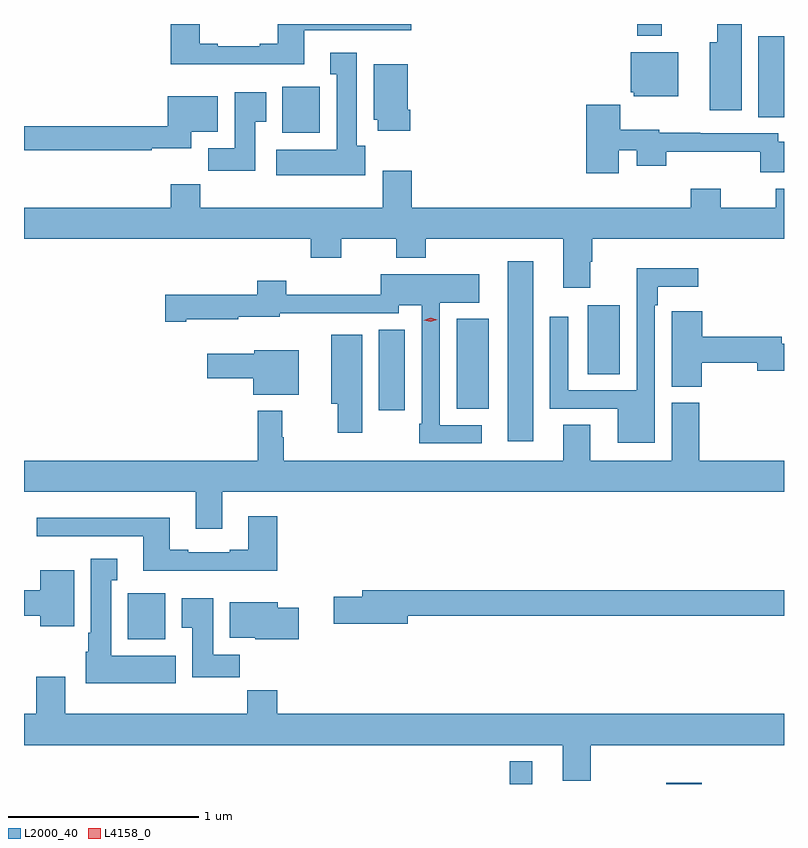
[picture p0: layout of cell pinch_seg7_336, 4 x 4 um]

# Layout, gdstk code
import gdstk
lib = gdstk.Library(unit=1e-6, precision=1e-09)
def R(c, l, rs):  # rectangles x0, y0, x1, y1
    for r in rs: c.add(gdstk.rectangle(r[:2], r[2:], *l))
def P(c, l, *ps):  # polygons
    for p in ps: c.add(gdstk.Polygon(p, *l))
L2000_40 = (2000, 40)
L4158_0 = (4158, 0)

pinch_seg7_336 = lib.new_cell('pinch_seg7_336')
R(pinch_seg7_336, L2000_40, [(396.697,1000.411,396.817,1000.531), (397.521,1000.411,397.709,1000.417), (394.688,1001.174,394.885,1001.416), (396.686,1002.216,396.82,1003.162), (396.008,1002.378,396.145,1002.803), (396.419,1002.385,396.586,1002.859), (397.109,1002.568,397.276,1002.931), (395.501,1003.838,395.698,1004.08), (398.006,1003.921,398.141,1004.347), (397.369,1004.349,397.498,1004.411)])
P(pinch_seg7_336, L2000_40, [(395.617,1004.379),(396.178,1004.379),(396.178,1004.411),(395.477,1004.411),(395.477,1004.308),(395.381,1004.308),(395.381,1004.295),(395.161,1004.295),(395.161,1004.308),(395.065,1004.308),(395.065,1004.411),(394.913,1004.411),(394.913,1004.198),(395.617,1004.198)],
  [(397.918,1004.411),(397.789,1004.411),(397.789,1004.314),(397.751,1004.314),(397.751,1003.958),(397.918,1003.958)],
  [(397.585,1004.263),(397.334,1004.263),(397.334,1004.052),(397.35,1004.052),(397.35,1004.03),(397.585,1004.03)],
  [(395.938,1003.77),(395.893,1003.77),(395.893,1004.26),(395.753,1004.26),(395.753,1004.147),(395.786,1004.147),(395.786,1003.75),(395.469,1003.75),(395.469,1003.616),(395.938,1003.616)],
  [(396.173,1003.96),(396.16,1003.96),(396.16,1004.2),(395.981,1004.2),(395.981,1003.908),(396.002,1003.908),(396.002,1003.848),(396.173,1003.848)],
  [(395.359,1003.897),(395.416,1003.897),(395.416,1004.053),(395.249,1004.053),(395.249,1003.756),(395.11,1003.756),(395.11,1003.638),(395.359,1003.638)],
  [(394.814,1003.757),(395.02,1003.757),(395.02,1003.844),(395.161,1003.844),(395.161,1004.032),(394.898,1004.032),(394.898,1003.874),(394.141,1003.874),(394.141,1003.746),(394.814,1003.746)],
  [(397.27,1003.746),(397.367,1003.746),(397.367,1003.664),(397.52,1003.664),(397.52,1003.739),(398.016,1003.739),(398.016,1003.631),(398.141,1003.631),(398.141,1003.792),(398.112,1003.792),(398.112,1003.836),(397.7,1003.836),(397.7,1003.838),(397.485,1003.838),(397.485,1003.855),(397.278,1003.855),(397.278,1003.987),(397.1,1003.987),(397.1,1003.626),(397.27,1003.626)],
  [(397.12,1003.16),(397.133,1003.16),(397.133,1003.28),(398.141,1003.28),(398.141,1003.543),(398.098,1003.543),(398.098,1003.444),(397.809,1003.444),(397.809,1003.543),(397.649,1003.543),(397.649,1003.444),(396.182,1003.444),(396.182,1003.639),(396.029,1003.639),(396.029,1003.444),(395.069,1003.444),(395.069,1003.568),(394.913,1003.568),(394.913,1003.444),(394.141,1003.444),(394.141,1003.28),(395.651,1003.28),(395.651,1003.181),(395.811,1003.181),(395.811,1003.28),(396.1,1003.28),(396.1,1003.181),(396.255,1003.181),(396.255,1003.28),(396.98,1003.28),(396.98,1003.023),(397.12,1003.023)],
  [(397.461,1002.932),(397.477,1002.932),(397.477,1003.028),(397.69,1003.028),(397.69,1003.126),(397.365,1003.126),(397.365,1002.483),(397.005,1002.483),(397.005,1002.871),(396.909,1002.871),(396.909,1002.387),(397.265,1002.387),(397.265,1002.206),(397.461,1002.206)],
  [(396.55,1002.3),(396.33,1002.3),(396.33,1002.944),(396.538,1002.944),(396.538,1003.093),(396.018,1003.093),(396.018,1002.986),(395.522,1002.986),(395.522,1003.06),(395.369,1003.06),(395.369,1002.987),(394.884,1002.987),(394.884,1002.845),(394.996,1002.845),(394.996,1002.857),(395.268,1002.857),(395.268,1002.869),(395.487,1002.869),(395.487,1002.888),(396.114,1002.888),(396.114,1002.932),(396.234,1002.932),(396.234,1002.307),(396.222,1002.307),(396.222,1002.204),(396.55,1002.204)],
  [(397.707,1002.628),(398,1002.628),(398,1002.586),(398.141,1002.586),(398.141,1002.728),(398.128,1002.728),(398.128,1002.764),(397.712,1002.764),(397.712,1002.898),(397.551,1002.898),(397.551,1002.785),(397.55,1002.785),(397.55,1002.502),(397.707,1002.502)],
  [(395.92,1002.775),(395.759,1002.775),(395.759,1002.413),(395.791,1002.413),(395.791,1002.261),(395.92,1002.261)],
  [(395.587,1002.694),(395.352,1002.694),(395.352,1002.676),(395.106,1002.676),(395.106,1002.547),(395.348,1002.547),(395.348,1002.461),(395.587,1002.461)],
  [(395.185,1001.948),(398.141,1001.948),(398.141,1002.112),(397.694,1002.112),(397.694,1002.417),(397.55,1002.417),(397.55,1002.112),(397.12,1002.112),(397.12,1002.302),(396.98,1002.302),(396.98,1002.112),(395.507,1002.112),(395.507,1002.236),(395.5,1002.236),(395.5,1002.376),(395.371,1002.376),(395.371,1002.112),(394.141,1002.112),(394.141,1001.948),(395.045,1001.948),(395.045,1001.754),(395.185,1001.754)],
  [(395.474,1001.821),(395.321,1001.821),(395.321,1001.644),(395.225,1001.644),(395.225,1001.631),(395.005,1001.631),(395.005,1001.644),(394.909,1001.644),(394.909,1001.812),(394.209,1001.812),(394.209,1001.715),(394.769,1001.715),(394.769,1001.534),(395.474,1001.534)],
  [(394.939,1001.086),(394.6,1001.086),(394.6,1001.483),(394.633,1001.483),(394.633,1001.596),(394.493,1001.596),(394.493,1001.206),(394.478,1001.206),(394.478,1001.106),(394.466,1001.106),(394.466,1000.94),(394.939,1000.94)],
  [(394.405,1001.536),(394.226,1001.536),(394.226,1001.432),(394.141,1001.432),(394.141,1001.296),(394.226,1001.296),(394.226,1001.24),(394.405,1001.24)],
  [(396.16,1001.296),(398.141,1001.296),(398.141,1001.432),(395.921,1001.432),(395.921,1001.396),(395.772,1001.396),(395.772,1001.254),(396.16,1001.254)],
  [(395.276,1001.092),(395.137,1001.092),(395.137,1001.389),(394.97,1001.389),(394.97,1001.233),(395.027,1001.233),(395.027,1000.974),(395.276,1000.974)],
  [(395.587,1001.338),(395.476,1001.338),(395.476,1001.368),(395.225,1001.368),(395.225,1001.18),(395.358,1001.18),(395.358,1001.174),(395.587,1001.174)],
  [(397.125,1000.616),(398.141,1000.616),(398.141,1000.78),(395.474,1000.78),(395.474,1000.904),(395.317,1000.904),(395.317,1000.78),(394.357,1000.78),(394.357,1000.975),(394.205,1000.975),(394.205,1000.78),(394.141,1000.78),(394.141,1000.616),(396.977,1000.616),(396.977,1000.429),(397.125,1000.429)])
P(pinch_seg7_336, L4158_0, [(396.282,1002.844),(396.246,1002.852),(396.246,1002.853),(396.246,1002.853),(396.281,1002.864),(396.316,1002.855),(396.316,1002.855),(396.316,1002.855)])

lib.write_gds('pinch_seg7_336.gds')
